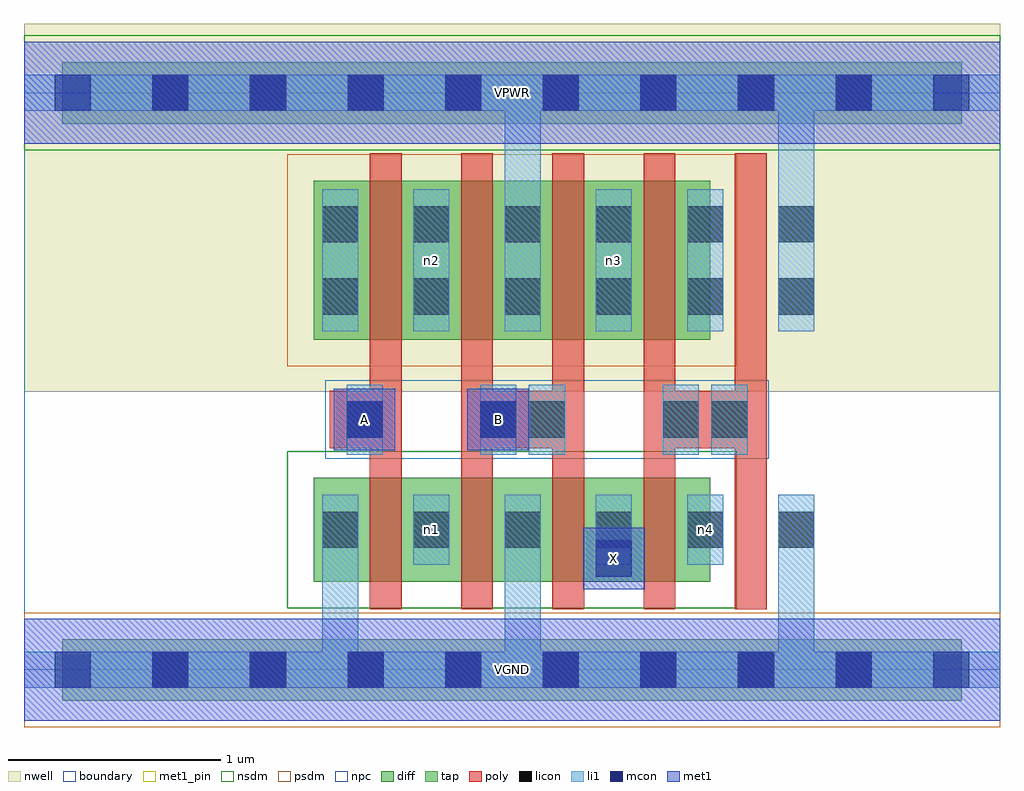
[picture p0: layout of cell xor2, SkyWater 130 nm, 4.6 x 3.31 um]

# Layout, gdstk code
import gdstk
lib = gdstk.Library(unit=1e-6, precision=1e-09)
def R(c, l, rs):  # rectangles x0, y0, x1, y1
    for r in rs: c.add(gdstk.rectangle(r[:2], r[2:], *l))
def A(c, l, x, y, w, h, nx, ny, dx, dy):  # array of equal rectangles
    R(c, l, [(x+i*dx, y+j*dy, x+i*dx+w, y+j*dy+h) for i in range(nx) for j in range(ny)])
nwell = (64, 20)
diff = (65, 20)
tap = (65, 44)
poly = (66, 20)
licon = (66, 44)
li1 = (67, 20)
mcon = (67, 44)
met1_pin = (68, 16)
met1 = (68, 20)
nsdm = (93, 44)
psdm = (94, 20)
npc = (95, 20)
boundary = (235, 4)

xor2 = lib.new_cell('xor2')
R(xor2, nwell, [(0,1.31,4.6,3.045)])
R(xor2, diff, [(1.365,0.415,3.235,0.905), (1.365,1.555,3.235,2.305)])
R(xor2, tap, [(0.18,-0.145,4.42,0.145), (0.18,2.575,4.42,2.865)])
A(xor2, poly, 1.63, 0.285, 0.15, 2.15, 5, 1, 0.43, 0)
R(xor2, poly, [(1.44,1.045,1.77,1.315), (2.07,1.045,2.4,1.315), (2.3,1.045,2.63,1.315), (2.93,1.045,3.26,1.315), (3.16,1.045,3.49,1.315)])
A(xor2, licon, 0.605, -0.085, 0.17, 0.17, 8, 2, 0.46, 2.72)
R(xor2, licon, [(1.405,0.575,1.575,0.745), (1.835,0.575,2.005,0.745), (1.835,0.575,2.005,0.745), (2.265,0.575,2.435,0.745), (2.265,0.575,2.435,0.745), (2.695,0.575,2.865,0.745), (2.695,0.575,2.865,0.745), (3.125,0.575,3.295,0.745), (3.125,0.575,3.295,0.745), (3.555,0.575,3.725,0.745), (1.52,1.095,1.69,1.265), (2.15,1.095,2.32,1.265), (2.38,1.095,2.55,1.265), (3.01,1.095,3.18,1.265), (3.24,1.095,3.41,1.265), (1.405,1.675,1.575,1.845), (1.835,1.675,2.005,1.845), (1.835,1.675,2.005,1.845), (2.265,1.675,2.435,1.845), (2.265,1.675,2.435,1.845), (2.695,1.675,2.865,1.845), (2.695,1.675,2.865,1.845), (3.125,1.675,3.295,1.845), (3.125,1.675,3.295,1.845), (3.555,1.675,3.725,1.845), (1.405,2.015,1.575,2.185), (1.835,2.015,2.005,2.185), (1.835,2.015,2.005,2.185), (2.265,2.015,2.435,2.185), (2.265,2.015,2.435,2.185), (2.695,2.015,2.865,2.185), (2.695,2.015,2.865,2.185), (3.125,2.015,3.295,2.185), (3.125,2.015,3.295,2.185), (3.555,2.015,3.725,2.185)])
A(xor2, li1, 1.405, 0.495, 0.17, 0.33, 6, 1, 0.43, 0)
A(xor2, li1, 1.405, 1.595, 0.17, 0.67, 6, 1, 0.43, 0)
R(xor2, li1, [(0,-0.085,4.6,0.085), (1.405,-0.085,1.575,0.825), (2.265,-0.085,2.435,0.825), (3.555,-0.085,3.725,0.825), (1.52,1.015,1.69,1.345), (2.15,1.015,2.32,1.345), (2.38,1.015,2.55,1.345), (3.01,1.015,3.18,1.345), (3.24,1.015,3.41,1.345), (2.265,1.595,2.435,2.805), (3.555,1.595,3.725,2.805), (0,2.635,4.6,2.805)])
A(xor2, mcon, 0.145, -0.085, 0.17, 0.17, 10, 2, 0.46, 2.72)
R(xor2, mcon, [(2.695,0.44,2.865,0.61), (1.52,1.095,1.69,1.265), (2.15,1.095,2.32,1.265)])
R(xor2, met1_pin, [(0,-0.24,4.6,0.24), (2.635,0.38,2.925,0.67), (1.46,1.035,1.75,1.325), (2.09,1.035,2.38,1.325), (0,2.48,4.6,2.96)])
R(xor2, met1, [(0,-0.24,4.6,0.24), (2.635,0.38,2.925,0.67), (1.46,1.035,1.75,1.325), (2.09,1.035,2.38,1.325), (0,2.48,4.6,2.96)])
R(xor2, nsdm, [(1.24,0.29,3.36,1.03), (0,2.45,4.6,2.99)])
R(xor2, psdm, [(0,-0.27,4.6,0.27), (1.24,1.43,3.36,2.43)])
R(xor2, npc, [(1.42,0.995,3.51,1.365)])
R(xor2, boundary, [(0,0,4.6,2.72)])
xor2.add(gdstk.Label('n1', (1.92,0.66), layer=67, texttype=5))
xor2.add(gdstk.Label('n4', (3.21,0.66), layer=67, texttype=5))
xor2.add(gdstk.Label('n2', (1.92,1.93), layer=67, texttype=5))
xor2.add(gdstk.Label('n3', (2.78,1.93), layer=67, texttype=5))
xor2.add(gdstk.Label('A', (1.605,1.18), layer=68, texttype=5))
xor2.add(gdstk.Label('B', (2.235,1.18), layer=68, texttype=5))
xor2.add(gdstk.Label('X', (2.78,0.525), layer=68, texttype=5))
xor2.add(gdstk.Label('VPWR', (2.3,2.72), layer=68, texttype=5))
xor2.add(gdstk.Label('VGND', (2.3,0), layer=68, texttype=5))
xor2.add(gdstk.Label('A', (1.605,1.18), layer=68, texttype=16))
xor2.add(gdstk.Label('B', (2.235,1.18), layer=68, texttype=16))
xor2.add(gdstk.Label('X', (2.78,0.525), layer=68, texttype=16))
xor2.add(gdstk.Label('VPWR', (2.3,2.72), layer=68, texttype=16))
xor2.add(gdstk.Label('VGND', (2.3,0), layer=68, texttype=16))

lib.write_gds('xor2.gds')
